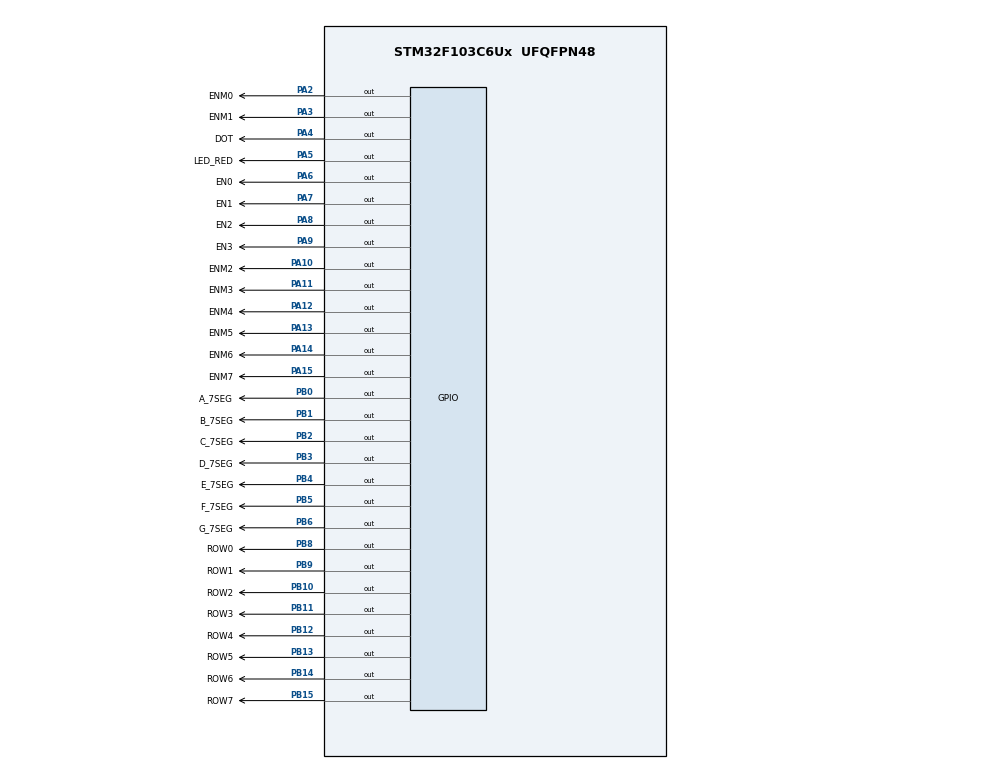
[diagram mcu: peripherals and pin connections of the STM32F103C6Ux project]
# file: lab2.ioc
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Mcu.Family=STM32F1
Mcu.Name=STM32F103C6Ux
Mcu.Package=UFQFPN48
NVIC.PriorityGroup=NVIC_PRIORITYGROUP_4
NVIC.TIM2_IRQn=true\:0\:0\:false\:false\:true\:true\:true
PA10.GPIO_Label=ENM2
PA10.Signal=GPIO_Output
PA11.GPIO_Label=ENM3
PA11.Signal=GPIO_Output
PA12.GPIO_Label=ENM4
PA12.Signal=GPIO_Output
PA13.GPIO_Label=ENM5
PA13.Signal=GPIO_Output
PA14.GPIO_Label=ENM6
PA14.Signal=GPIO_Output
PA15.GPIO_Label=ENM7
PA15.Signal=GPIO_Output
PA2.GPIO_Label=ENM0
PA2.Signal=GPIO_Output
PA3.GPIO_Label=ENM1
PA3.Signal=GPIO_Output
PA4.GPIO_Label=DOT
PA4.Signal=GPIO_Output
PA5.GPIO_Label=LED_RED
PA5.Signal=GPIO_Output
PA6.GPIO_Label=EN0
PA6.Signal=GPIO_Output
PA7.GPIO_Label=EN1
PA7.Signal=GPIO_Output
PA8.GPIO_Label=EN2
PA8.Signal=GPIO_Output
PA9.GPIO_Label=EN3
PA9.Signal=GPIO_Output
PB0.GPIO_Label=A_7SEG
PB0.Signal=GPIO_Output
PB1.GPIO_Label=B_7SEG
PB1.Signal=GPIO_Output
PB10.GPIO_Label=ROW2
PB10.Signal=GPIO_Output
PB11.GPIO_Label=ROW3
PB11.Signal=GPIO_Output
PB12.GPIO_Label=ROW4
PB12.Signal=GPIO_Output
PB13.GPIO_Label=ROW5
PB13.Signal=GPIO_Output
PB14.GPIO_Label=ROW6
PB14.Signal=GPIO_Output
PB15.GPIO_Label=ROW7
PB15.Signal=GPIO_Output
PB2.GPIO_Label=C_7SEG
PB2.Signal=GPIO_Output
PB3.GPIO_Label=D_7SEG
PB3.Signal=GPIO_Output
PB4.GPIO_Label=E_7SEG
PB4.Signal=GPIO_Output
PB5.GPIO_Label=F_7SEG
PB5.Signal=GPIO_Output
PB6.GPIO_Label=G_7SEG
PB6.Signal=GPIO_Output
PB8.GPIO_Label=ROW0
PB8.Signal=GPIO_Output
PB9.GPIO_Label=ROW1
PB9.Signal=GPIO_Output
ProjectManager.HeapSize=0x200
ProjectManager.StackSize=0x400
ProjectManager.TargetToolchain=STM32CubeIDE
RCC.APB1Freq_Value=8000000
RCC.APB2Freq_Value=8000000
TIM2.Period=0
TIM2.Prescaler=7999
VP_SYS_VS_ND.Mode=No_Debug
VP_TIM2_VS_ClockSourceINT.Mode=Internal
board=custom

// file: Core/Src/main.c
/* USER CODE BEGIN Header */
/**
  ******************************************************************************
  * @file           : main.c
  * @brief          : Main program body
  ******************************************************************************
  * @attention
  *
  * <h2><center>&copy; Copyright (c) 2025 STMicroelectronics.
  * All rights reserved.</center></h2>
  *
  * This software component is licensed by ST under BSD 3-Clause license,
  * the "License"; You may not use this file except in compliance with the
  * License. You may obtain a copy of the License at:
  *                        opensource.org/licenses/BSD-3-Clause
  *
  ******************************************************************************
  */
/* USER CODE END Header */
#include "main.h"

TIM_HandleTypeDef htim2;

void SystemClock_Config(void);
static void MX_GPIO_Init(void);
static void MX_TIM2_Init(void);

/* USER CODE BEGIN 0 */
void display7SEG(int num) {
    if (num < 0 || num > 9) num = 0;

    switch (num){
	case 0:
		HAL_GPIO_WritePin(GPIOB, G_7SEG_Pin, SET);
		HAL_GPIO_WritePin(GPIOB, A_7SEG_Pin | B_7SEG_Pin | C_7SEG_Pin | D_7SEG_Pin | E_7SEG_Pin | F_7SEG_Pin, RESET);
		break;
	case 1:
		HAL_GPIO_WritePin(GPIOB, B_7SEG_Pin | C_7SEG_Pin, RESET);
		HAL_GPIO_WritePin(GPIOB, A_7SEG_Pin | D_7SEG_Pin | E_7SEG_Pin | F_7SEG_Pin | G_7SEG_Pin, SET);
		break;
	case 2:
		HAL_GPIO_WritePin(GPIOB, F_7SEG_Pin | C_7SEG_Pin, SET);
		HAL_GPIO_WritePin(GPIOB, A_7SEG_Pin | B_7SEG_Pin | D_7SEG_Pin | E_7SEG_Pin | G_7SEG_Pin, RESET);
		break;
	case 3:
		HAL_GPIO_WritePin(GPIOB, F_7SEG_Pin | E_7SEG_Pin, SET);
		HAL_GPIO_WritePin(GPIOB, A_7SEG_Pin | B_7SEG_Pin | C_7SEG_Pin | D_7SEG_Pin | G_7SEG_Pin, RESET);
		break;
	case 4:
		HAL_GPIO_WritePin(GPIOB, A_7SEG_Pin | E_7SEG_Pin | D_7SEG_Pin, SET);
		HAL_GPIO_WritePin(GPIOB, B_7SEG_Pin | C_7SEG_Pin | F_7SEG_Pin | G_7SEG_Pin, RESET);
		break;
	case 5:
		HAL_GPIO_WritePin(GPIOB, B_7SEG_Pin | E_7SEG_Pin, SET);
		HAL_GPIO_WritePin(GPIOB, A_7SEG_Pin | C_7SEG_Pin | D_7SEG_Pin | F_7SEG_Pin | G_7SEG_Pin, RESET);
		break;
	case 6:
		HAL_GPIO_WritePin(GPIOB, B_7SEG_Pin, SET);
		HAL_GPIO_WritePin(GPIOB, A_7SEG_Pin | C_7SEG_Pin | D_7SEG_Pin | E_7SEG_Pin | F_7SEG_Pin | G_7SEG_Pin, RESET);
		break;
	case 7:
		HAL_GPIO_WritePin(GPIOB, F_7SEG_Pin | G_7SEG_Pin | E_7SEG_Pin | D_7SEG_Pin, SET);
		HAL_GPIO_WritePin(GPIOB, A_7SEG_Pin | B_7SEG_Pin | C_7SEG_Pin, RESET);
		break;
	case 8:
		HAL_GPIO_WritePin(GPIOB, A_7SEG_Pin | B_7SEG_Pin | C_7SEG_Pin | D_7SEG_Pin | E_7SEG_Pin | F_7SEG_Pin | G_7SEG_Pin, RESET);
		break;
	case 9:
		HAL_GPIO_WritePin(GPIOB, E_7SEG_Pin, SET);
		HAL_GPIO_WritePin(GPIOB, A_7SEG_Pin | B_7SEG_Pin | C_7SEG_Pin | D_7SEG_Pin | F_7SEG_Pin | G_7SEG_Pin, RESET);
		break;
	default:
		break;
	}
}
const int MAX_LED = 4;
int index_led = 0;
int led_buffer [4] = {1 , 2 , 3 , 4};
void update7SEG(int index){
	switch(index){
	case 0:
		HAL_GPIO_WritePin(GPIOA, EN0_Pin, RESET);
		HAL_GPIO_WritePin(GPIOA, EN1_Pin, SET);
		HAL_GPIO_WritePin(GPIOA, EN2_Pin, SET);
		HAL_GPIO_WritePin(GPIOA, EN3_Pin, SET);
		display7SEG(led_buffer[index]);
		break;
	case 1:
		HAL_GPIO_WritePin(GPIOA, EN0_Pin, SET);
		HAL_GPIO_WritePin(GPIOA, EN1_Pin, RESET);
		HAL_GPIO_WritePin(GPIOA, EN2_Pin, SET);
		HAL_GPIO_WritePin(GPIOA, EN3_Pin, SET);
		display7SEG(led_buffer[index]);
		break;
	case 2:
		HAL_GPIO_WritePin(GPIOA, EN0_Pin, SET);
		HAL_GPIO_WritePin(GPIOA, EN1_Pin, SET);
		HAL_GPIO_WritePin(GPIOA, EN2_Pin, RESET);
		HAL_GPIO_WritePin(GPIOA, EN3_Pin, SET);
		display7SEG(led_buffer[index]);
		break;
	case 3:
		HAL_GPIO_WritePin(GPIOA, EN0_Pin, SET);
		HAL_GPIO_WritePin(GPIOA, EN1_Pin, SET);
		HAL_GPIO_WritePin(GPIOA, EN2_Pin, SET);
		HAL_GPIO_WritePin(GPIOA, EN3_Pin, RESET);
		display7SEG(led_buffer[index]);
		break;
	}
}
/* USER CODE END 0 */

int main(void)
{

  /* MCU Configuration--------------------------------------------------------*/

  /* Reset of all peripherals, Initializes the Flash interface and the Systick. */
  HAL_Init();

  /* Configure the system clock */
  SystemClock_Config();

  /* Initialize all configured peripherals */
  MX_GPIO_Init();
  MX_TIM2_Init();
  /* USER CODE BEGIN 2 */
  HAL_TIM_Base_Start_IT (& htim2 ) ;
  /* USER CODE END 2 */

  /* Infinite loop */
  while (1)
  {

  }
}

void SystemClock_Config(void)
{
  RCC_OscInitTypeDef RCC_OscInitStruct = {0};
  RCC_ClkInitTypeDef RCC_ClkInitStruct = {0};

  /** Initializes the RCC Oscillators according to the specified parameters
  * in the RCC_OscInitTypeDef structure.
  */
  RCC_OscInitStruct.OscillatorType = RCC_OSCILLATORTYPE_HSI;
  RCC_OscInitStruct.HSIState = RCC_HSI_ON;
  RCC_OscInitStruct.HSICalibrationValue = RCC_HSICALIBRATION_DEFAULT;
  RCC_OscInitStruct.PLL.PLLState = RCC_PLL_NONE;
  if (HAL_RCC_OscConfig(&RCC_OscInitStruct) != HAL_OK)
  {
    Error_Handler();
  }
  /** Initializes the CPU, AHB and APB buses clocks
  */
  RCC_ClkInitStruct.ClockType = RCC_CLOCKTYPE_HCLK|RCC_CLOCKTYPE_SYSCLK
                              |RCC_CLOCKTYPE_PCLK1|RCC_CLOCKTYPE_PCLK2;
  RCC_ClkInitStruct.SYSCLKSource = RCC_SYSCLKSOURCE_HSI;
  RCC_ClkInitStruct.AHBCLKDivider = RCC_SYSCLK_DIV1;
  RCC_ClkInitStruct.APB1CLKDivider = RCC_HCLK_DIV1;
  RCC_ClkInitStruct.APB2CLKDivider = RCC_HCLK_DIV1;

  if (HAL_RCC_ClockConfig(&RCC_ClkInitStruct, FLASH_LATENCY_0) != HAL_OK)
  {
    Error_Handler();
  }
}

static void MX_TIM2_Init(void)
{

  TIM_ClockConfigTypeDef sClockSourceConfig = {0};
  TIM_MasterConfigTypeDef sMasterConfig = {0};

  htim2.Instance = TIM2;
  htim2.Init.Prescaler = 7999;
  htim2.Init.CounterMode = TIM_COUNTERMODE_UP;
  htim2.Init.Period = 9;
  htim2.Init.ClockDivision = TIM_CLOCKDIVISION_DIV1;
  htim2.Init.AutoReloadPreload = TIM_AUTORELOAD_PRELOAD_DISABLE;
  if (HAL_TIM_Base_Init(&htim2) != HAL_OK)
  {
    Error_Handler();
  }
  sClockSourceConfig.ClockSource = TIM_CLOCKSOURCE_INTERNAL;
  if (HAL_TIM_ConfigClockSource(&htim2, &sClockSourceConfig) != HAL_OK)
  {
    Error_Handler();
  }
  sMasterConfig.MasterOutputTrigger = TIM_TRGO_RESET;
  sMasterConfig.MasterSlaveMode = TIM_MASTERSLAVEMODE_DISABLE;
  if (HAL_TIMEx_MasterConfigSynchronization(&htim2, &sMasterConfig) != HAL_OK)
  {
    Error_Handler();
  }

}

static void MX_GPIO_Init(void)
{
  GPIO_InitTypeDef GPIO_InitStruct = {0};

  /* GPIO Ports Clock Enable */
  __HAL_RCC_GPIOA_CLK_ENABLE();
  __HAL_RCC_GPIOB_CLK_ENABLE();

  /*Configure GPIO pin Output Level */
  HAL_GPIO_WritePin(GPIOA, DOT_Pin|LED_RED_Pin|EN0_Pin|EN1_Pin
                          |EN2_Pin|EN3_Pin, GPIO_PIN_RESET);

  /*Configure GPIO pin Output Level */
  HAL_GPIO_WritePin(GPIOB, A_7SEG_Pin|B_7SEG_Pin|C_7SEG_Pin|D_7SEG_Pin
                          |E_7SEG_Pin|F_7SEG_Pin|G_7SEG_Pin, GPIO_PIN_RESET);

  /*Configure GPIO pins : DOT_Pin LED_RED_Pin EN0_Pin EN1_Pin
                           EN2_Pin EN3_Pin */
  GPIO_InitStruct.Pin = DOT_Pin|LED_RED_Pin|EN0_Pin|EN1_Pin
                          |EN2_Pin|EN3_Pin;
  GPIO_InitStruct.Mode = GPIO_MODE_OUTPUT_PP;
  GPIO_InitStruct.Pull = GPIO_NOPULL;
  GPIO_InitStruct.Speed = GPIO_SPEED_FREQ_LOW;
  HAL_GPIO_Init(GPIOA, &GPIO_InitStruct);

  /*Configure GPIO pins : A_7SEG_Pin B_7SEG_Pin C_7SEG_Pin D_7SEG_Pin
                           E_7SEG_Pin F_7SEG_Pin G_7SEG_Pin */
  GPIO_InitStruct.Pin = A_7SEG_Pin|B_7SEG_Pin|C_7SEG_Pin|D_7SEG_Pin
                          |E_7SEG_Pin|F_7SEG_Pin|G_7SEG_Pin;
  GPIO_InitStruct.Mode = GPIO_MODE_OUTPUT_PP;
  GPIO_InitStruct.Pull = GPIO_NOPULL;
  GPIO_InitStruct.Speed = GPIO_SPEED_FREQ_LOW;
  HAL_GPIO_Init(GPIOB, &GPIO_InitStruct);

}

/* USER CODE BEGIN 4 */
const int TIMER1 = 100;
const int TIMER2 = 50;
const int TIMER3 = 50;
int timer1_counter = TIMER1;
int timer2_counter = TIMER2;
int timer3_counter = TIMER3;
void HAL_TIM_PeriodElapsedCallback ( TIM_HandleTypeDef * htim ){
	if(timer1_counter > 0){
		timer1_counter--;
		if(timer1_counter <= 0){
			HAL_GPIO_TogglePin(LED_RED_GPIO_Port, LED_RED_Pin);
			timer1_counter = TIMER1;
		}
	}

	if(timer2_counter > 0){
		timer2_counter--;
		if(timer2_counter <= 0){
			if(index_led > MAX_LED){
				index_led = 0;
			}
			index_led++;
			index_led = index_led % 4;
			update7SEG(index_led);
			timer2_counter = TIMER2;
		}
	}

	if(timer3_counter > 0){
		timer3_counter--;
		if(timer3_counter <= 0){
			HAL_GPIO_TogglePin(GPIOA, DOT_Pin);
			timer3_counter = TIMER3;
		}
	}
}
/* USER CODE END 4 */

void Error_Handler(void)
{
  __disable_irq();
  while (1)
  {
  }
}

/************************ (C) COPYRIGHT STMicroelectronics *****END OF FILE****/
